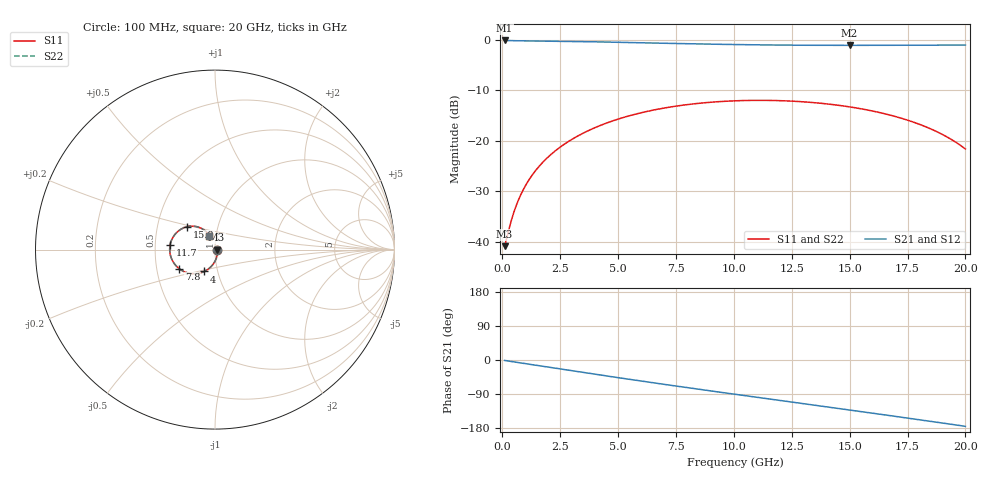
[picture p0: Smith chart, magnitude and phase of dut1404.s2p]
! Touchstone file exported from HFSS 2026.1.0
!  File:  C:/ffzhzh/LocalFiles/Ansys_Project_Files/temp_train_TSV_RDL_1404_1783352284_48288.aedt
!  Generated:  11:45:03 PM Jul  6, 2026
!  Design:  TSV_RDL
!  Project:  temp_train_TSV_RDL_1404_1783352284_48288
! Variables:
!  h_bsmrdl = 4.14um
!  h_ox = 20um
!  h_rdl = 5um
!  h_sub = 73.75um
!  h_tmrdl = 4.3um
!  h_tsv = 73.75um
!  h_via = 3um
!  l_bsmrdl = 170.91um
!  l_sub = 2905.22um
!  l_tmrdl = 457.51um
!  m_sub = 200um
!  pitch = 30.65um
!  r_tsv = 12.41um
!  s_tmrdl = 10um
!  w_bsmrdl = 26.83um
!  w_sub = 500um
!  w_tmrdl = 27.32um
!  x_tsv_center1 = 471.17um
!  x_tsv_center2 = 668.91um
!  x_tsv_center3 = 1153.74um
!  x_tsv_center4 = 1351.48um
!  x_tsv_center5 = 1836.31um
!  x_tsv_center6 = 2034.05um
# GHz S MA R 50.000000
! Terminal data exported
! Port[1] = TM_RDL1_1_T1
! Port[2] = TM_RDL5_1_T1
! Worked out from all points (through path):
!   200 points, 100 MHz to 20 GHz, reference 50 ohm
!   highest |S21| = -0.08 dB at 100 MHz (marker M1); lowest = -1.0 dB at 15 GHz (marker M2)
!   group delay of S21, straight-line fit = 24 ps
!   lowest |S11| = -40.9 dB at 100 MHz (marker M3), VSWR 1.02, Z = 50.9 - j0.121 ohm
!   |S11| at or under -10 dB: start of sweep to end of sweep
!   |S22| runs from -40.9 to -12.0 dB; largest |S21 - S12| = 1.9e-13
!   S11 on the Smith chart (normalised r, x): 100 MHz: 1.02, -0.00; 4 GHz: 0.86, -0.21; 7.8 GHz: 0.65, -0.15; 11.7 GHz: 0.60, +0.03; 15.8 GHz: 0.71, +0.19; 20 GHz: 0.93, +0.14
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0.1  0.009034 -7.6  0.991 -1.1  0.991 -1.1  0.009034 -7.6
! Gamma 0 0 0 0
! Port Impedance 50 0 50 0
0.4  0.01653 -39.0  0.9864 -4.0  0.9864 -4.0  0.01653 -39.0
0.6  0.02277 -53.9  0.9846 -5.9  0.9846 -5.9  0.02277 -53.9
0.9  0.03263 -68.1  0.9828 -8.7  0.9828 -8.7  0.03263 -68.1
1.3  0.0461 -79.6  0.9809 -12.5  0.9809 -12.5  0.0461 -79.6
1.7  0.0597 -87.5  0.9788 -16.2  0.9788 -16.2  0.0597 -87.5
2.2  0.07666 -95.2  0.9757 -20.9  0.9757 -20.9  0.07666 -95.2
3.5  0.1196 -110.7  0.9653 -32.9  0.9653 -32.9  0.1196 -110.7
4  0.1352 -115.9  0.9607 -37.5  0.9607 -37.5  0.1352 -115.9
5.4  0.1752 -129.8  0.9464 -50.2  0.9464 -50.2  0.1752 -129.8
6.8  0.2079 -142.9  0.9316 -62.6  0.9316 -62.6  0.2079 -142.9
7.8  0.2261 -152.0  0.9216 -71.3  0.9216 -71.3  0.2261 -151.9
8.9  0.2407 -161.7  0.9115 -80.7  0.9115 -80.7  0.2407 -161.6
10.1  0.25 -172.0  0.9022 -90.9  0.9022 -90.9  0.25 -172.0
11.7  0.2517 174.4  0.8931 -104.3  0.8931 -104.3  0.2517 174.5
13.4  0.2402 160.4  0.8877 -118.5  0.8877 -118.5  0.2402 160.4
15  0.2175 147.4  0.8862 -131.9  0.8862 -131.9  0.2175 147.4
15.8  0.2019 141.0  0.8865 -138.7  0.8865 -138.7  0.202 141.0
16.7  0.1814 133.9  0.8875 -146.4  0.8875 -146.4  0.1814 134.0
18.6  0.1286 119.8  0.8904 -162.8  0.8904 -162.8  0.1286 120.0
19.3  0.1064 115.4  0.8913 -168.9  0.8913 -168.9  0.1064 115.6
20  0.08314 112.0  0.892 -175.0  0.892 -175.0  0.08318 112.2
